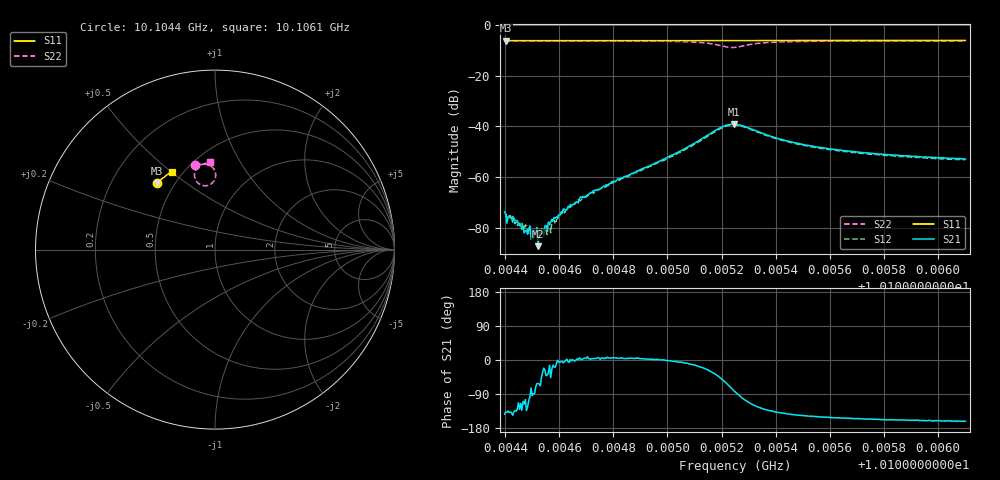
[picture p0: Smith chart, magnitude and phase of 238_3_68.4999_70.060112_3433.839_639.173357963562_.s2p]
#  HZ  S  RI  R  50.00
! Rohde & Schwarz Vector Network Analyzer
! Rohde-Schwarz,ZNB20-2Port,1311601062101988,3.16
! Created: UTC 3/20/2024, 5:14:21 PM
! freq[Hz]  re:S11  im:S11  re:S21  im:S21  re:S12  im:S12  re:S22  im:S22
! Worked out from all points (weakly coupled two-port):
!   401 points, 10.1044 GHz to 10.1061 GHz, reference 50 ohm
!   highest |S21| = -39.12 dB at 10.10525 GHz (marker M1); lowest = -87.3 dB at 10.10452 GHz (marker M2)
!   lowest |S11| = -6.2 dB at 10.1044 GHz (marker M3), VSWR 2.94, Z = 20.1 + j19.7 ohm
!   |S11| at or under -10 dB: nowhere
!   |S22| runs from -8.9 to -6.3 dB; largest |S21 - S12| = 0.0012
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1.0104397e10  -0.322 0.3719  -0.000165 -0.000126  -0.000143 -0.000119  -0.1104 0.4713
1.0104402e10  -0.3218 0.3719  -0.000138 -0.000127  -0.00012 -0.000141  -0.1101 0.4713
1.0104423e10  -0.3208 0.3729  -0.000122 -0.000105  -9.71e-05 -0.000103  -0.1085 0.4718
1.0104444e10  -0.3199 0.3738  -9.04e-05 -0.000105  -5.67e-05 -9.44e-05  -0.1069 0.4721
1.010447e10  -0.3188 0.3749  -3.47e-05 -7.14e-05  -4.64e-05 -7.94e-05  -0.1049 0.4727
1.0104521e10  -0.3164 0.377  2.03e-05 -3.82e-05  5.49e-05 -4.99e-05  -0.1008 0.4736
1.0104547e10  -0.3153 0.3781  9.61e-05 -4.96e-05  9.06e-05 -3.22e-05  -0.0986 0.4741
1.0104576e10  -0.3139 0.3793  0.000133 -3.23e-05  0.000138 -6.77e-06  -0.0962 0.4746
1.0104593e10  -0.3129 0.38  0.000163 -2.97e-06  0.000155 2.79e-06  -0.0948 0.4749
1.0104606e10  -0.3124 0.3804  0.000203 -1.85e-05  0.00019 -2.57e-05  -0.0937 0.475
1.0104683e10  -0.309 0.3836  0.00039 -7.13e-07  0.000365 3.02e-05  -0.0867 0.4763
1.0104798e10  -0.3037 0.3881  0.000792 8.55e-05  0.000756 0.000118  -0.0747 0.4776
1.0104969e10  -0.2956 0.3949  0.00202 2.19e-05  0.00194 0.000194  -0.0503 0.4765
1.0105118e10  -0.2884 0.4004  0.00505 -0.00158  0.00493 -0.00102  -0.0105 0.4546
1.0105199e10  -0.2841 0.4031  0.00629 -0.00726  0.00677 -0.00627  -0.00218 0.3891
1.0105246e10  -0.2821 0.4043  0.00178 -0.0109  0.00282 -0.0103  -0.0574 0.3558
1.010525e10  -0.282 0.4045  0.0012 -0.011  0.00227 -0.0104  -0.0638 0.3564
1.0105322e10  -0.279 0.4074  -0.00418 -0.00723  -0.00341 -0.00737  -0.1144 0.4112
1.010542e10  -0.2743 0.4111  -0.00423 -0.0036  -0.00377 -0.00382  -0.1004 0.4538
1.0105535e10  -0.2686 0.4154  -0.00346 -0.00213  -0.00318 -0.00234  -0.0817 0.4698
1.0105821e10  -0.2543 0.4251  -0.00255 -0.00105  -0.00234 -0.00122  -0.0505 0.4816
1.0106102e10  -0.2399 0.4342  -0.00215 -0.000723  -0.002 -0.000857  -0.0276 0.4857
